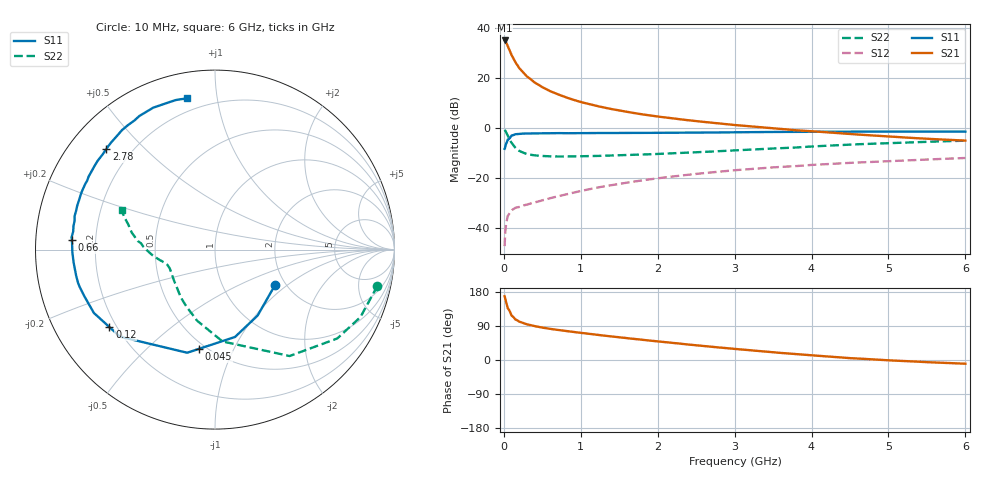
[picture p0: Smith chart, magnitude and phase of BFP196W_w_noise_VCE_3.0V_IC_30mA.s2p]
! Infineon Technologies  Discrete & RF Semiconductors
! BFP196W
! VCE = 3.0 V,  IC =  30mA
! Common Emitter S-Parameters:  Jan 2016
# GHz  S  MA  R  50
!  f  S11  S21  S12  S22
! GHz  MAG  ANG  MAG  ANG  MAG  ANG  MAG  ANG
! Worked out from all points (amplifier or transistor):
!   210 points, 10 MHz to 6 GHz, reference 50 ohm
!   highest |S21| = 35.1 dB at 10 MHz (marker M1)
!   |S21| within 3 dB of that: start of sweep to 61.6 MHz
!   unconditionally stable (mu >= 1): 752.7 MHz to 3.322 GHz
!   at 185 MHz: K = 0.43, MSG = 28.2 dB, |S12| = -31.5 dB
!   at 1.52 GHz: K = 1.12, MAG = 12.4 dB, |S12| = -22.1 dB
!   at 6 GHz: K = 0.94, MSG = 3.5 dB, |S12| = -11.9 dB
!   lowest NFmin = 1.40 dB at 500 MHz
!   S11 on the Smith chart (normalised r, x): 10 MHz: 1.76, -0.82; 45 MHz: 0.46, -0.74; 120 MHz: 0.17, -0.32; 660 MHz: 0.11, +0.03; 2.78 GHz: 0.11, +0.39; 6 GHz: 0.13, +0.82
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0.01  0.3886 -30.6  57.05 168.3  0.0044 79.8  0.9274 -12.6
0.02  0.4374 -57.1  55.61 160.1  0.0088 72.6  0.8933 -24.9
0.03  0.4994 -77.1  52.32 151.4  0.0123 66.0  0.8423 -36.0
0.045  0.5597 -99.1  45.98 141.2  0.0161 55.9  0.7453 -49.7
0.05  0.5952 -105.1  44.25 137.2  0.0175 53.5  0.724 -55.0
0.1  0.718 -137.5  29.05 117.4  0.0229 39.7  0.5136 -85.3
0.12  0.7294 -143.7  25.68 114.0  0.024 37.6  0.4659 -91.8
0.15  0.7616 -152.4  20.86 107.0  0.0257 34.8  0.4086 -104.1
0.2  0.7728 -160.3  16 101.3  0.0268 34.5  0.3541 -116.9
0.24  0.7822 -164.6  13.64 98.1  0.0282 35.5  0.3319 -123.8
0.3  0.7872 -169.4  10.88 94.1  0.0298 36.9  0.305 -132.8
0.4  0.7912 -174.9  8.241 89.3  0.033 40.6  0.2879 -141.9
0.5  0.7949 -179.0  6.64 85.4  0.0362 44.0  0.2797 -148.2
0.66  0.7993 176.3  5.091 80.6  0.0422 48.5  0.2736 -154.1
1.02  0.7996 168.1  3.294 71.2  0.0566 54.3  0.2763 -161.0
1.4  0.8055 160.6  2.424 62.1  0.073 56.4  0.2856 -164.4
2.02  0.8134 149.7  1.705 48.6  0.1011 55.7  0.3078 -168.5
2.78  0.8257 137.2  1.257 33.4  0.1349 51.5  0.3474 -174.5
3.1  0.8337 132.3  1.13 27.5  0.149 49.0  0.368 -177.8
4.1  0.8561 118.3  0.853 10.9  0.1887 41.3  0.441 172.5
5.1  0.86 107.7  0.669 -1.7  0.2237 33.4  0.5117 162.9
6  0.8573 100.4  0.567 -9.8  0.255 27.1  0.5651 156.8
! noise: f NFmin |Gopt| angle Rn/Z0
0.5  1.4  0.4  -173  0.08
0.9  1.6  0.5  -166  0.08
1.5  2.4  0.61  -150  0.14
2  2.9  0.71  -129  0.2
